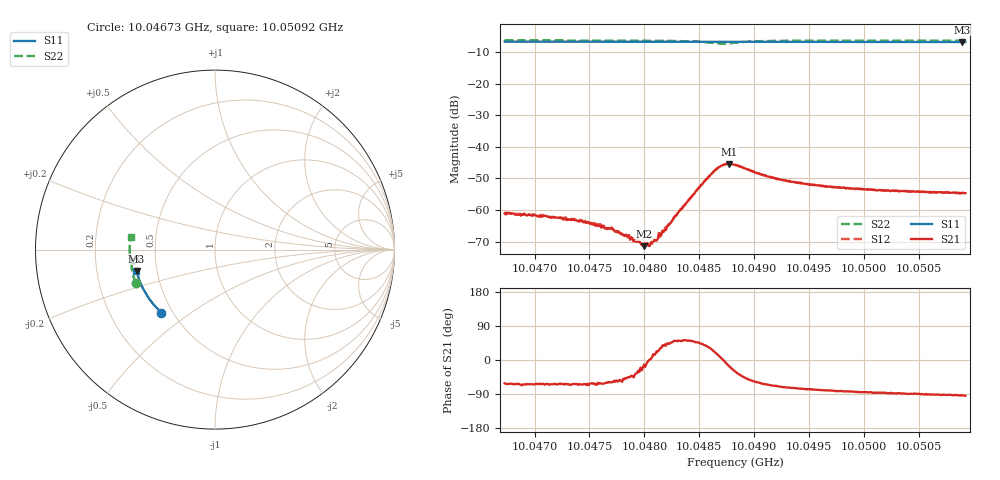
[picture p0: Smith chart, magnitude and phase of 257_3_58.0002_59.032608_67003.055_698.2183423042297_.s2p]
#  HZ  S  RI  R  50.00
! Rohde & Schwarz Vector Network Analyzer
! Rohde-Schwarz,ZNB20-2Port,1311601062101988,3.16
! Created: UTC 3/21/2024, 1:01:49 AM
! freq[Hz]  re:S11  im:S11  re:S21  im:S21  re:S12  im:S12  re:S22  im:S22
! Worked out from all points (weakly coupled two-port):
!   401 points, 10.04673 GHz to 10.05092 GHz, reference 50 ohm
!   highest |S21| = -45.39 dB at 10.04877 GHz (marker M1); lowest = -71.4 dB at 10.048 GHz (marker M2)
!   lowest |S11| = -6.9 dB at 10.05089 GHz (marker M3), VSWR 2.66, Z = 19.1 - j5.76 ohm
!   |S11| at or under -10 dB: nowhere
!   |S22| runs from -7.4 to -6.4 dB; largest |S21 - S12| = 0.00036
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1.0046727e10  -0.2981 -0.3514  0.000424 -0.000781  0.000435 -0.000807  -0.4409 -0.1888
1.0047105e10  -0.3162 -0.334  0.00036 -0.000721  0.000362 -0.000696  -0.4496 -0.1645
1.004743e10  -0.331 -0.3184  0.000288 -0.000617  0.000346 -0.000595  -0.4562 -0.1431
1.0047587e10  -0.3379 -0.3106  0.000264 -0.000506  0.000343 -0.00049  -0.4588 -0.1323
1.0047692e10  -0.3423 -0.3054  0.00027 -0.00044  0.000277 -0.000421  -0.4607 -0.1248
1.0047797e10  -0.347 -0.3001  0.000225 -0.000355  0.000265 -0.000309  -0.4619 -0.1172
1.0047839e10  -0.3485 -0.2979  0.000263 -0.000294  0.000268 -0.000284  -0.4624 -0.1142
1.0047913e10  -0.3516 -0.294  0.000261 -0.000209  0.00026 -0.000202  -0.4634 -0.1087
1.0047997e10  -0.355 -0.2896  0.000262 -5.78e-05  0.000273 -7.15e-05  -0.4642 -0.1021
1.0048039e10  -0.3567 -0.2873  0.000272 -5.53e-06  0.000299 -1.62e-05  -0.4646 -0.0987
1.004807e10  -0.3579 -0.2858  0.000317 3.89e-05  0.000281 7.49e-05  -0.4646 -0.0961
1.0048133e10  -0.3604 -0.2825  0.000391 0.000192  0.000327 0.000171  -0.4648 -0.0909
1.0048332e10  -0.3682 -0.2718  0.000659 0.000786  0.000586 0.000852  -0.4631 -0.0725
1.0048605e10  -0.3778 -0.2567  0.00316 0.00183  0.0031 0.00199  -0.4393 -0.0488
1.0048689e10  -0.3805 -0.252  0.00481 0.000675  0.00479 0.00103  -0.4256 -0.0563
1.0048773e10  -0.3834 -0.2475  0.00515 -0.00154  0.00522 -0.00121  -0.4264 -0.0731
1.0048826e10  -0.3851 -0.2447  0.00448 -0.0026  0.00468 -0.00233  -0.4346 -0.0791
1.0049172e10  -0.3966 -0.2249  0.00122 -0.003  0.00142 -0.00293  -0.468 -0.0557
1.0049528e10  -0.4073 -0.2039  0.000527 -0.00244  0.000674 -0.00241  -0.4745 -0.0259
1.0050231e10  -0.4248 -0.1614  9.47e-05 -0.00202  0.000176 -0.00201  -0.4754 0.0246
1.0050892e10  -0.4373 -0.1198  -0.000113 -0.00185  -1.08e-05 -0.00185  -0.4708 0.0691
1.0050924e10  -0.4379 -0.1176  -0.000139 -0.00184  -1.05e-05 -0.00187  -0.4705 0.0712
